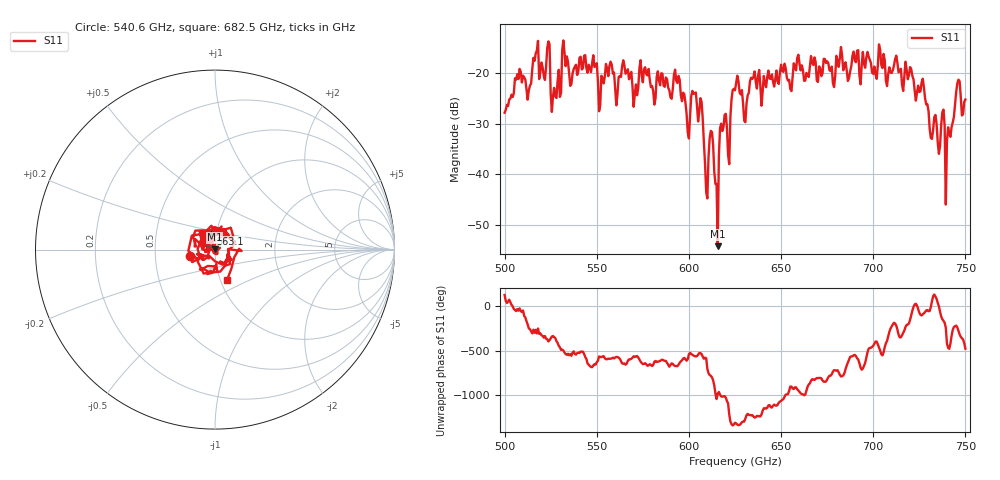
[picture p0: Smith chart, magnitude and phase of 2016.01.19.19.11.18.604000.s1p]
!Created with skrf (http://scikit-rf.org).
# GHz S RI R 50.0
!freq ReS11 ImS11
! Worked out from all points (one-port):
!   401 points, 500 GHz to 750 GHz, reference 50 ohm
!   lowest |S11| = -54.2 dB at 615.6 GHz (marker M1), VSWR 1.00, Z = 50 + j0.192 ohm
!   |S11| at or under -10 dB: start of sweep to end of sweep
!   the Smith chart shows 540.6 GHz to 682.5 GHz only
!   S11 on the Smith chart (normalised r, x): 540.6 GHz: 0.76, -0.05; 563.1 GHz: 0.94, +0.17; 682.5 GHz: 1.08, -0.38
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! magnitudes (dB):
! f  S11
! 500 GHz  -27.8
! 513.1 GHz  -23.4
! 516.9 GHz  -16.1
! 523.8 GHz  -13.7
! 526.9 GHz  -22.9
! 531.2 GHz  -15.4
! 540.6 GHz  -17.0
! 562.5 GHz  -20.6
! 563.1 GHz  -20.7
! 593.8 GHz  -21.9
! 599.4 GHz  -31.7
! 603.1 GHz  -24.0
! 606.9 GHz  -25.7
! 609.4 GHz  -43.5
! 611.9 GHz  -31.4
! 615.6 GHz  -54.2
! 618.1 GHz  -31.4
! 621.9 GHz  -38.0
! 625 GHz  -23.4
! 630.6 GHz  -29.7
! 634.4 GHz  -21.1
! 656.2 GHz  -20.8
! 682.5 GHz  -14.8
! 687.5 GHz  -19.6
! 718.8 GHz  -21.2
! 740.6 GHz  -30.7
! 745.6 GHz  -22.0
! 750 GHz  -25.2
